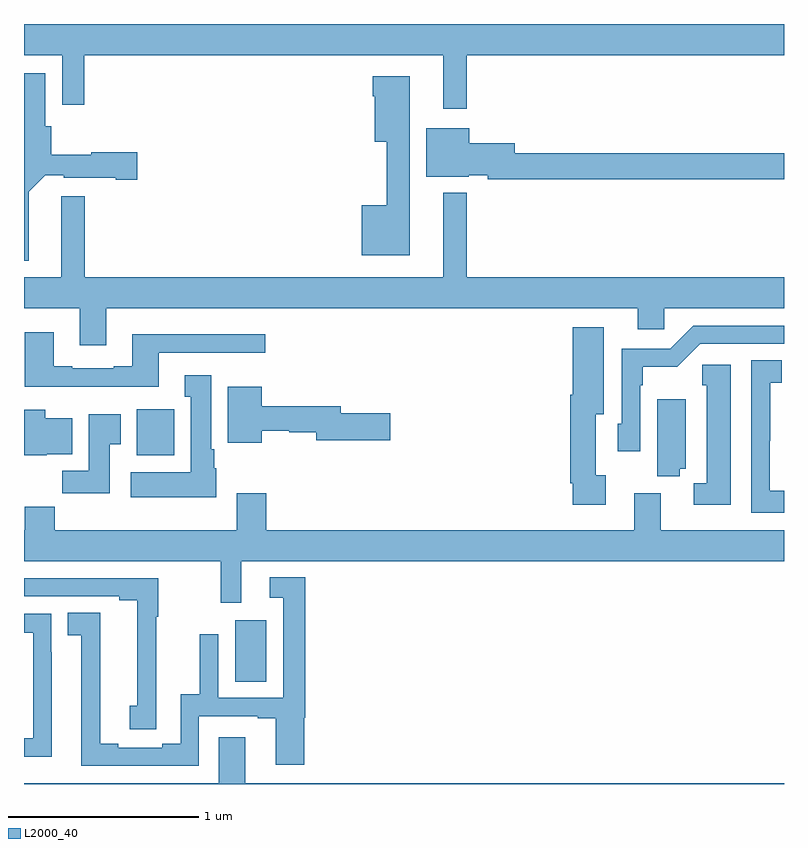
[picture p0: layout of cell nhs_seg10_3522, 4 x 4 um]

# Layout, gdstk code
import gdstk
lib = gdstk.Library(unit=1e-6, precision=1e-09)
def R(c, l, rs):  # rectangles x0, y0, x1, y1
    for r in rs: c.add(gdstk.rectangle(r[:2], r[2:], *l))
def P(c, l, *ps):  # polygons
    for p in ps: c.add(gdstk.Polygon(p, *l))
L2000_40 = (2000, 40)

nhs_seg10_3522 = lib.new_cell('nhs_seg10_3522')
R(nhs_seg10_3522, L2000_40, [(304.112,1277.038,304.276,1277.362), (303.593,1278.23,303.79,1278.472)])
P(nhs_seg10_3522, L2000_40, [(305.329,1280.336),(307,1280.336),(307,1280.5),(303,1280.5),(303,1280.336),(303.201,1280.336),(303.201,1280.076),(303.317,1280.076),(303.317,1280.336),(305.207,1280.336),(305.207,1280.055),(305.329,1280.055)],
  [(303.025,1279.616),(303.111,1279.703),(303.21,1279.703),(303.21,1279.691),(303.482,1279.691),(303.482,1279.679),(303.595,1279.679),(303.595,1279.826),(303.354,1279.826),(303.354,1279.813),(303.143,1279.813),(303.143,1279.962),(303.112,1279.962),(303.112,1280.242),(303,1280.242),(303,1279.253),(303.025,1279.253)],
  [(305.029,1280.224),(304.835,1280.224),(304.835,1280.12),(304.847,1280.12),(304.847,1279.88),(304.908,1279.88),(304.908,1279.546),(304.778,1279.546),(304.778,1279.283),(305.029,1279.283)],
  [(307,1279.82),(305.584,1279.82),(305.584,1279.873),(305.344,1279.873),(305.344,1279.951),(305.117,1279.951),(305.117,1279.697),(305.34,1279.697),(305.34,1279.703),(305.44,1279.703),(305.44,1279.684),(307,1279.684)],
  [(303.433,1279.004),(306.23,1279.004),(306.23,1278.894),(306.369,1278.894),(306.369,1279.004),(307,1279.004),(307,1279.168),(305.329,1279.168),(305.329,1279.612),(305.207,1279.612),(305.207,1279.168),(303.32,1279.168),(303.32,1279.594),(303.197,1279.594),(303.197,1279.168),(303,1279.168),(303,1279.004),(303.293,1279.004),(303.293,1278.81),(303.433,1278.81)],
  [(306.243,1278.599),(306.256,1278.599),(306.256,1278.695),(306.437,1278.695),(306.558,1278.816),(307,1278.816),(307,1278.912),(306.522,1278.912),(306.402,1278.792),(306.147,1278.792),(306.147,1278.396),(306.126,1278.396),(306.126,1278.252),(306.243,1278.252)],
  [(306.061,1278.126),(306.01,1278.126),(306.01,1278.446),(306.052,1278.446),(306.052,1278.904),(305.888,1278.904),(305.888,1278.55),(305.876,1278.55),(305.876,1278.082),(305.888,1278.082),(305.888,1277.97),(306.061,1277.97)],
  [(303.709,1278.771),(304.27,1278.771),(304.27,1278.868),(303.569,1278.868),(303.569,1278.7),(303.473,1278.7),(303.473,1278.687),(303.253,1278.687),(303.253,1278.7),(303.157,1278.7),(303.157,1278.877),(303.005,1278.877),(303.005,1278.59),(303.709,1278.59)],
  [(307,1278.044),(306.925,1278.044),(306.925,1278.307),(306.927,1278.307),(306.927,1278.611),(306.988,1278.611),(306.988,1278.731),(306.828,1278.731),(306.828,1277.928),(307,1277.928)],
  [(306.721,1278.706),(306.571,1278.706),(306.571,1278.6),(306.593,1278.6),(306.593,1278.084),(306.525,1278.084),(306.525,1277.969),(306.721,1277.969)],
  [(304.012,1278.162),(304,1278.162),(304,1278.262),(303.985,1278.262),(303.985,1278.652),(303.845,1278.652),(303.845,1278.539),(303.878,1278.539),(303.878,1278.142),(303.561,1278.142),(303.561,1278.008),(304.012,1278.008)],
  [(304.252,1278.36),(304.395,1278.36),(304.395,1278.352),(304.538,1278.352),(304.538,1278.31),(304.927,1278.31),(304.927,1278.452),(304.666,1278.452),(304.666,1278.488),(304.252,1278.488),(304.252,1278.592),(304.073,1278.592),(304.073,1278.296),(304.252,1278.296)],
  [(306.452,1278.158),(306.484,1278.158),(306.484,1278.526),(306.332,1278.526),(306.332,1278.121),(306.452,1278.121)],
  [(303.12,1278.236),(303.253,1278.236),(303.253,1278.424),(303.112,1278.424),(303.112,1278.469),(303,1278.469),(303,1278.23),(303.12,1278.23)],
  [(303.451,1278.289),(303.508,1278.289),(303.508,1278.445),(303.341,1278.445),(303.341,1278.148),(303.202,1278.148),(303.202,1278.03),(303.451,1278.03)],
  [(304.144,1277.672),(307,1277.672),(307,1277.836),(306.352,1277.836),(306.352,1278.031),(306.212,1278.031),(306.212,1277.836),(304.274,1277.836),(304.274,1278.031),(304.121,1278.031),(304.121,1277.836),(303.161,1277.836),(303.161,1277.96),(303.005,1277.96),(303.005,1277.836),(303,1277.836),(303,1277.672),(304.035,1277.672),(304.035,1277.454),(304.144,1277.454)],
  [(303.921,1276.857),(304.229,1276.857),(304.229,1276.845),(304.325,1276.845),(304.325,1276.602),(304.475,1276.602),(304.475,1276.85),(304.481,1276.85),(304.481,1277.587),(304.293,1277.587),(304.293,1277.481),(304.365,1277.481),(304.365,1276.953),(304.023,1276.953),(304.023,1277.287),(303.925,1277.287),(303.925,1276.973),(303.825,1276.973),(303.825,1276.712),(303.728,1276.712),(303.728,1276.692),(303.496,1276.692),(303.496,1276.712),(303.4,1276.712),(303.4,1276.993),(303.401,1276.993),(303.401,1277.402),(303.229,1277.402),(303.229,1277.284),(303.302,1277.284),(303.302,1276.596),(303.921,1276.596)],
  [(303.697,1277.38),(303.707,1277.38),(303.707,1277.583),(303,1277.583),(303,1277.487),(303.5,1277.487),(303.5,1277.467),(303.596,1277.467),(303.596,1276.912),(303.557,1276.912),(303.557,1276.788),(303.697,1276.788)],
  [(303.145,1277.194),(303.144,1277.194),(303.144,1277.397),(303,1277.397),(303,1277.296),(303.048,1277.296),(303.048,1276.74),(303,1276.74),(303,1276.643),(303.145,1276.643)],
  [(307,1276.504),(304.165,1276.504),(304.165,1276.747),(304.025,1276.747),(304.025,1276.504),(303,1276.504),(303,1276.5),(307,1276.5)])

lib.write_gds('nhs_seg10_3522.gds')
